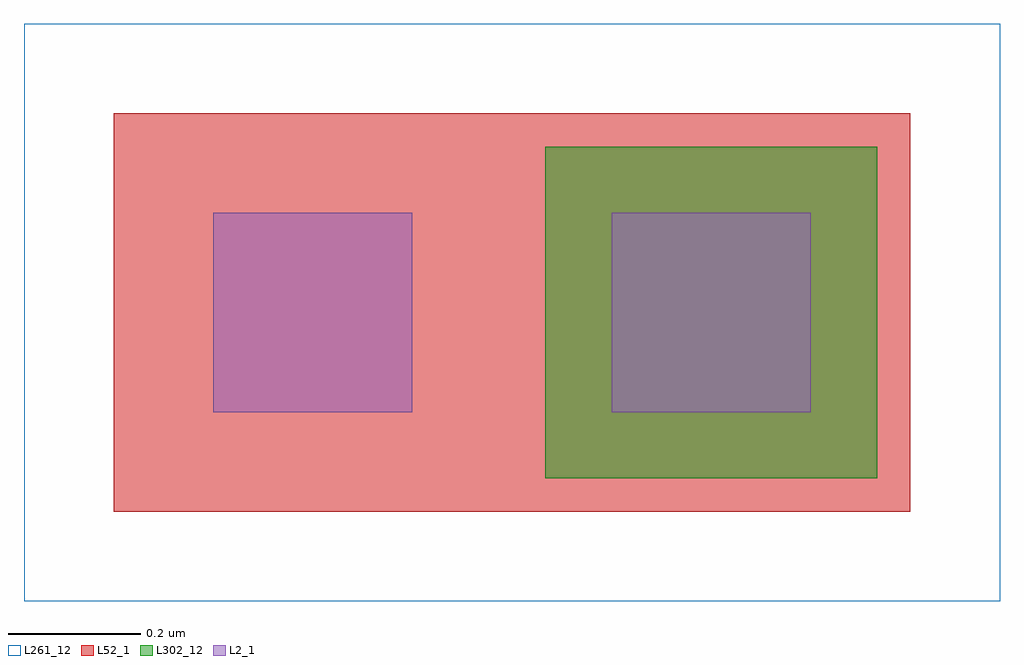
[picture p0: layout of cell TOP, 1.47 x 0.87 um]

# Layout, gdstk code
import gdstk
lib = gdstk.Library(unit=1e-6, precision=1e-09)
def R(c, l, rs):  # rectangles x0, y0, x1, y1
    for r in rs: c.add(gdstk.rectangle(r[:2], r[2:], *l))
L2_1 = (2, 1)
L52_1 = (52, 1)
L261_12 = (261, 12)
L302_12 = (302, 12)

top = lib.new_cell('TOP')
R(top, L2_1, [(0.3,0.3,0.6,0.6), (0.9,0.3,1.2,0.6)])
R(top, L52_1, [(0.15,0.15,0.75,0.75), (0.75,0.15,1.35,0.75)])
R(top, L261_12, [(0.015,0.015,1.485,0.885)])
R(top, L302_12, [(0.8,0.2,1.3,0.7)])

lib.write_gds('TOP.gds')
